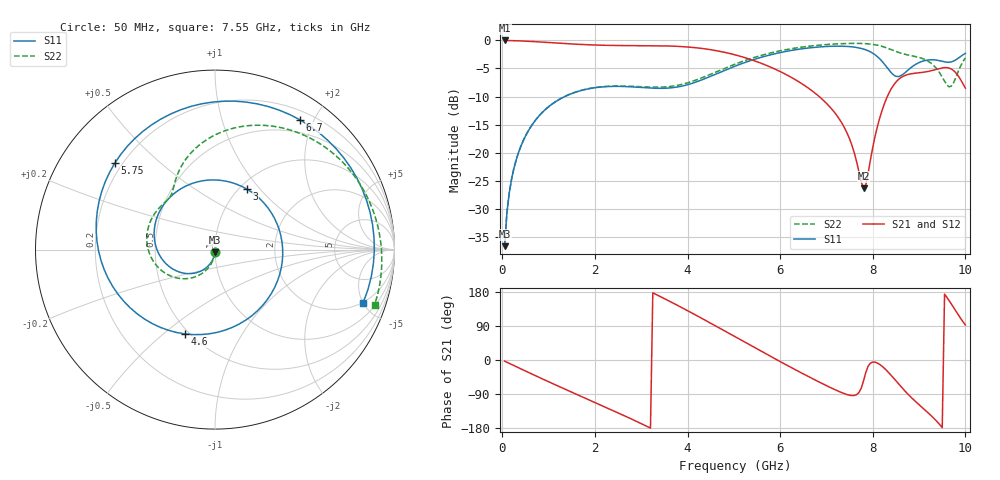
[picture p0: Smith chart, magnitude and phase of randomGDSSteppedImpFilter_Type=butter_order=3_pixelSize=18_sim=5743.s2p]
! freq	dB(S11)	phase(S11)	dB(S12)	phase(S12)
!  dB(S21)	phase(S21)	dB(S22)	phase(S22)
!S-par simulation data
#  GHz  S  DB  R 50
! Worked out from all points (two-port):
!   200 points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, 50 MHz to 10 GHz, reference 50 ohm
!   highest |S21| = -0.01 dB at 50 MHz (marker M1); lowest = -26.3 dB at 7.8 GHz (marker M2)
!   |S21| within 3 dB of the highest: start of sweep to 5.214 GHz
!   lowest |S11| = -36.7 dB at 50 MHz (marker M3), VSWR 1.03, Z = 49.9 - j1.47 ohm
!   |S11| at or under -10 dB: start of sweep to 1.348 GHz
!   |S22| runs from -36.7 to -0.5 dB; largest |S21 - S12| = 0
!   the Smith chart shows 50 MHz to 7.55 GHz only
!   S11 on the Smith chart (normalised r, x): 50 MHz: 1.00, -0.03; 3 GHz: 1.08, +0.85; 4.6 GHz: 0.47, -0.59; 5.75 GHz: 0.17, +0.36; 6.7 GHz: 0.32, +1.81; 7.55 GHz: 1.94, -4.99
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0.05  -36.66 -93.0  -0.01 -3.0  -0.01 -3.0  -36.65 -92.4
0.2  -24.72 -103.1  -0.03 -11.7  -0.03 -11.7  -24.71 -100.7
0.5  -17.05 -122.7  -0.13 -29.1  -0.13 -29.1  -17.04 -116.5
1.75  -8.82 157.2  -0.74 -98.5  -0.74 -98.5  -8.79 -175.4
3  -8.38 62.1  -0.93 -167.9  -0.93 -167.9  -8.25 141.4
3.4  -8.54 22.8  -0.95 168.2  -0.95 168.2  -8.33 132.9
3.95  -8.00 -38.0  -1.14 133.5  -1.14 133.5  -7.68 124.2
4.6  -6.03 -109.8  -1.79 90.3  -1.79 90.3  -5.66 109.1
5.05  -4.51 -155.4  -2.62 59.7  -2.62 59.7  -4.15 93.3
5.75  -2.65 139.3  -4.60 12.4  -4.60 12.4  -2.32 63.4
6.25  -1.77 95.3  -6.62 -20.6  -6.62 -20.6  -1.46 40.6
6.7  -1.27 56.8  -9.05 -49.3  -9.05 -49.3  -0.96 20.0
7.15  -1.03 18.0  -12.58 -76.4  -12.58 -76.4  -0.65 -0.5
7.55  -1.14 -19.8  -18.70 -93.8  -18.70 -93.8  -0.53 -19.0
7.8  -1.54 -48.4  -26.35 -55.2  -26.35 -55.2  -0.56 -31.2
8.1  -2.89 -95.3  -15.35 -8.1  -15.35 -8.1  -0.85 -46.6
8.35  -5.28 -157.0  -9.37 -34.2  -9.37 -34.2  -1.49 -59.3
8.75  -5.36 76.6  -6.08 -88.9  -6.08 -88.9  -2.57 -76.2
9.1  -3.64 17.7  -5.66 -128.9  -5.66 -128.9  -3.31 -98.8
9.5  -3.72 -16.2  -4.90 -178.4  -4.90 -178.4  -6.54 -162.0
9.75  -3.66 -22.9  -5.40 137.6  -5.40 137.6  -7.46 92.4
10  -2.31 -32.2  -8.50 92.5  -8.50 92.5  -3.11 12.8
